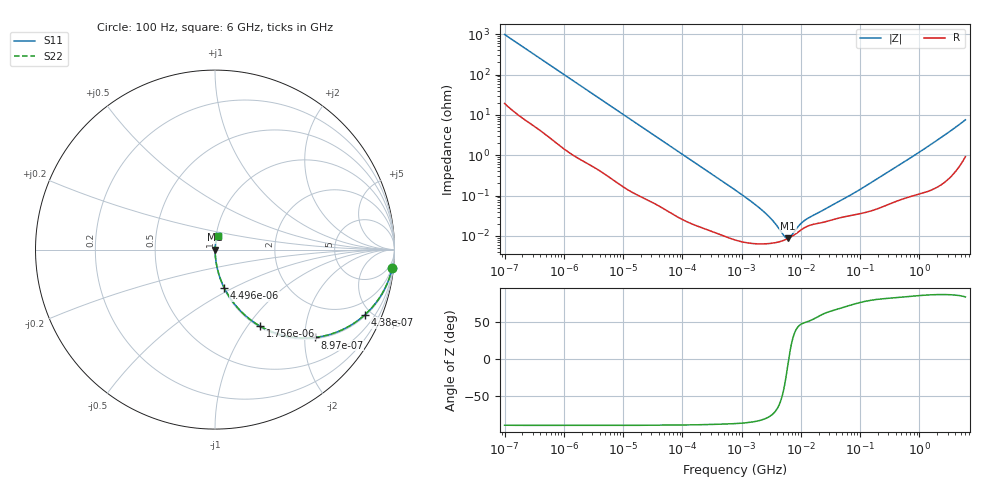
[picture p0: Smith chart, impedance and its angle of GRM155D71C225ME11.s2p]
!Murata Part Number: GRM155D71C225ME11
!These Parameters are Measured in Series Mode Connection
!Data Generated on Mar 30, 2021
!  o--ll--o
!Port1  Port2
!  o------o
!Operation Temp=25[degC], DC Bias Voltage=0[V]
!Freq. Start=100[Hz] Stop=6[GHz] 401[Steps]
# Hz S RI R 50
!Freq.(Hz) S11(Real) S11(Imag) S21(Real) S21(Imag) S12(Real) S12(Imag) S22(Real) S22(Imag)
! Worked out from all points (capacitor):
!   401 points, 100 Hz to 6 GHz, reference 50 ohm
!   read as one part in series: C = 1.61 uF near 109 Hz
!   lowest |Z| = 8.68 mohm at 6.075 MHz (marker M1)
!   series resonance near 6.26 MHz, so ESL is about 400 pH
!   S11 on the Smith chart (normalised r, x): 100 Hz: 1, -20; 438 Hz: 1.07, -4.57; 897 Hz: 1.03, -2.25; 1.756 kHz: 1.02, -1.15; 4.496 kHz: 1.01, -0.45; 6 GHz: 1.02, +0.15
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100  0.988 -0.0998  0.012 0.0998  0.012 0.0998  0.988 -0.0998
245  0.9395 -0.2301  0.0605 0.2301  0.0605 0.2301  0.9395 -0.2301
438  0.8353 -0.3629  0.1647 0.3629  0.1647 0.3629  0.8353 -0.3629
897  0.5574 -0.4895  0.4426 0.4895  0.4426 0.4895  0.5574 -0.4895
1227  0.4054 -0.4839  0.5946 0.4839  0.5946 0.4839  0.4054 -0.4839
1756  0.2529 -0.4275  0.7471 0.4275  0.7471 0.4275  0.2529 -0.4275
2008  0.2067 -0.3976  0.7933 0.3976  0.7933 0.3976  0.2067 -0.3976
4496  0.0524 -0.2148  0.9476 0.2148  0.9476 0.2148  0.0524 -0.2148
11514  0.00938 -0.0887  0.9906 0.0887  0.9906 0.0887  0.00938 -0.0887
40335  0.00122 -0.0259  0.9988 0.0259  0.9988 0.0259  0.00122 -0.0259
774597  8.14e-05 -0.00139  0.9999 0.00139  0.9999 0.00139  8.14e-05 -0.00139
2268635  6.36e-05 -0.000419  0.9999 0.000419  0.9999 0.000419  6.36e-05 -0.000419
3394479  6.66e-05 -0.000227  0.9999 0.000227  0.9999 0.000227  6.66e-05 -0.000227
5079039  7.71e-05 -7.23e-05  0.9999 7.23e-05  0.9999 7.23e-05  7.71e-05 -7.23e-05
6075234  8.62e-05 -1.01e-05  0.9999 1.01e-05  0.9999 1.01e-05  8.62e-05 -1.01e-05
7266822  0.0001 4.98e-05  0.9999 -4.98e-05  0.9999 -4.98e-05  0.0001 4.98e-05
1.087309e7  0.000152 0.000167  0.9998 -0.000167  0.9998 -0.000167  0.000152 0.000167
1.555665e7  0.000191 0.000248  0.9998 -0.000248  0.9998 -0.000248  0.000191 0.000248
7.455971e7  0.000328 0.00105  0.9997 -0.00105  0.9997 -0.00105  0.000328 0.00105
3.124326e8  0.000631 0.00399  0.9994 -0.00399  0.9994 -0.00399  0.000631 0.00399
1.251881e9  0.00142 0.0148  0.9986 -0.0148  0.9986 -0.0148  0.00142 0.0148
6e9  0.0146 0.0733  0.9854 -0.0733  0.9854 -0.0733  0.0146 0.0733
